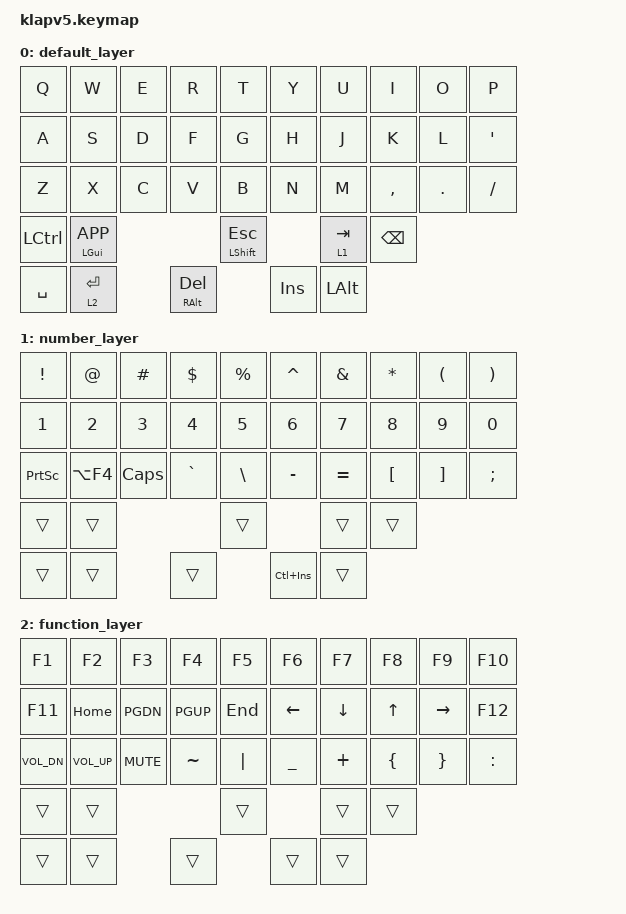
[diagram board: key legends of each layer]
#include <behaviors.dtsi>
#include <dt-bindings/zmk/keys.h>

/ {
    keymap {
        compatible = "zmk,keymap";

        default_layer {
            bindings = <
&kp Q  &kp W  &kp E  &kp R  &kp T  &kp Y  &kp U  &kp I     &kp O   &kp P
&kp A  &kp S  &kp D  &kp F  &kp G  &kp H  &kp J  &kp K     &kp L   &kp SQT
&kp Z  &kp X  &kp C  &kp V  &kp B  &kp N  &kp M  &kp COMMA &kp DOT &kp FSLH
&kp LCTRL &mt LGUI K_APP &mt LSHIFT ESC &lt 1 TAB &kp BSPC
&kp SPACE &lt 2 RET &mt RALT DEL &kp INS &kp LALT
            >;
        };
        number_layer {
            bindings = <
&kp EXCL &kp AT &kp HASH &kp DOLLAR &kp PRCNT &kp CARET &kp AMPS &kp ASTRK &kp LPAR &kp RPAR
&kp N1 &kp N2 &kp N3 &kp N4 &kp N5 &kp N6 &kp N7 &kp N8 &kp N9 &kp N0
&kp PSCRN &kp LA(F4) &kp CAPS &kp GRAVE &kp BSLH &kp MINUS &kp EQUAL &kp LBKT &kp RBKT &kp SEMI
&trans &trans &trans &trans &trans &trans &trans &trans &kp LC(INS) &trans
            >;
        };
        function_layer {
            bindings = <
&kp F1  &kp F2 &kp F3 &kp F4 &kp F5 &kp F6 &kp F7 &kp F8    &kp F9  &kp F10
&kp F11 &kp HOME &kp PGDN &kp PGUP &kp END &kp LEFT &kp DOWN &kp UP &kp RIGHT &kp F12
&kp C_VOL_DN &kp C_VOL_UP &kp C_MUTE &kp TILDE &kp PIPE &kp UNDER &kp PLUS &kp LBRC &kp RBRC &kp COLON
&trans &trans &trans &trans &trans &trans &trans &trans &trans &trans
            >;
        };
    };
 };
